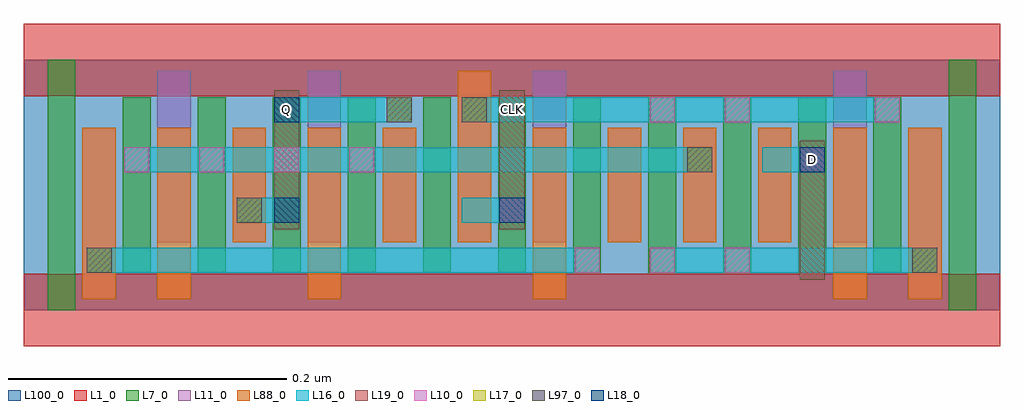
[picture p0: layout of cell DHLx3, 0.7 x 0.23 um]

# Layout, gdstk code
import gdstk
lib = gdstk.Library(unit=1e-6, precision=2.5e-10)
def R(c, l, rs):  # rectangles x0, y0, x1, y1
    for r in rs: c.add(gdstk.rectangle(r[:2], r[2:], *l))
def A(c, l, x, y, w, h, nx, ny, dx, dy):  # array of equal rectangles
    R(c, l, [(x+i*dx, y+j*dy, x+i*dx+w, y+j*dy+h) for i in range(nx) for j in range(ny)])
L1_0 = (1, 0)
L7_0 = (7, 0)
L10_0 = (10, 0)
L11_0 = (11, 0)
L16_0 = (16, 0)
L17_0 = (17, 0)
L18_0 = (18, 0)
L19_0 = (19, 0)
L88_0 = (88, 0)
L97_0 = (97, 0)
L100_0 = (100, 0)

dhlx3 = lib.new_cell('DHLx3')
R(dhlx3, L1_0, [(0,-0.026,0.702,0.026), (0,0.154,0.702,0.206)])
A(dhlx3, L7_0, 0.071, 0.027, 0.02, 0.126, 11, 1, 0.054, 0)
R(dhlx3, L7_0, [(0.017,0,0.037,0.18), (0.665,0,0.685,0.18), (0.503,0.027,0.523,0.126), (0.449,0.054,0.469,0.153)])
A(dhlx3, L10_0, 0.396, 0.027, 0.018, 0.018, 3, 1, 0.054, 0)
A(dhlx3, L10_0, 0.072, 0.099, 0.018, 0.018, 4, 1, 0.054, 0)
R(dhlx3, L10_0, [(0.342,0.063,0.36,0.081), (0.558,0.099,0.576,0.117), (0.45,0.135,0.468,0.153), (0.504,0.135,0.522,0.153), (0.612,0.135,0.63,0.153)])
A(dhlx3, L11_0, 0.096, 0.049, 0.024, 0.123, 3, 1, 0.108, 0)
A(dhlx3, L11_0, 0.42, 0.049, 0.024, 0.082, 3, 1, 0.054, 0)
R(dhlx3, L11_0, [(0.042,0.008,0.066,0.131), (0.636,0.008,0.66,0.131), (0.15,0.049,0.174,0.131), (0.258,0.049,0.282,0.131), (0.366,0.049,0.39,0.172), (0.582,0.049,0.606,0.172)])
R(dhlx3, L16_0, [(0.045,0.027,0.414,0.045), (0.45,0.027,0.657,0.045), (0.153,0.063,0.198,0.081), (0.315,0.063,0.36,0.081), (0.072,0.099,0.495,0.117), (0.531,0.099,0.576,0.117), (0.18,0.135,0.279,0.153), (0.315,0.135,0.63,0.153)])
R(dhlx3, L17_0, [(0.045,0.027,0.063,0.045), (0.639,0.027,0.657,0.045), (0.153,0.063,0.171,0.081), (0.477,0.099,0.495,0.117), (0.261,0.135,0.279,0.153), (0.315,0.135,0.333,0.153)])
R(dhlx3, L18_0, [(0.18,0.063,0.198,0.081), (0.342,0.063,0.36,0.081), (0.558,0.099,0.576,0.117), (0.18,0.135,0.198,0.153)])
R(dhlx3, L19_0, [(0.558,0.022,0.576,0.122), (0.18,0.058,0.198,0.158), (0.342,0.058,0.36,0.158)])
A(dhlx3, L88_0, 0.42, 0.049, 0.024, 0.082, 3, 1, 0.054, 0)
R(dhlx3, L88_0, [(0.042,0.008,0.066,0.131), (0.096,0.008,0.12,0.131), (0.204,0.008,0.228,0.131), (0.366,0.008,0.39,0.131), (0.582,0.008,0.606,0.131), (0.636,0.008,0.66,0.131), (0.15,0.049,0.174,0.131), (0.258,0.049,0.282,0.131), (0.312,0.049,0.336,0.172)])
R(dhlx3, L97_0, [(0.045,0.027,0.063,0.045), (0.639,0.027,0.657,0.045), (0.153,0.063,0.171,0.081), (0.477,0.099,0.495,0.117), (0.261,0.135,0.279,0.153), (0.315,0.135,0.333,0.153)])
R(dhlx3, L100_0, [(0,0,0.702,0.18)])
dhlx3.add(gdstk.Label('CLK', (0.351,0.144), layer=19, texttype=251))
dhlx3.add(gdstk.Label('D', (0.567,0.108), layer=19, texttype=251))
dhlx3.add(gdstk.Label('Q', (0.189,0.144), layer=19, texttype=251))

lib.write_gds('DHLx3.gds')
